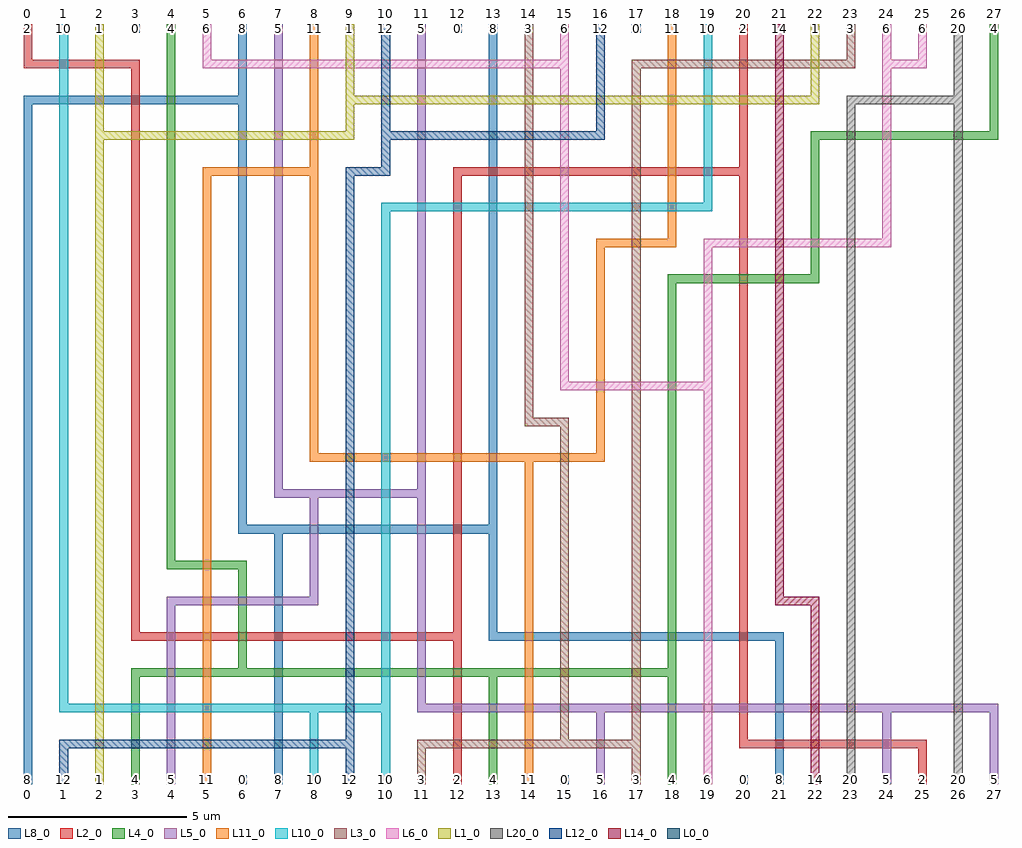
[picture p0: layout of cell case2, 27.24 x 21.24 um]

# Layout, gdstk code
import gdstk
lib = gdstk.Library(unit=1e-6, precision=1e-09)
def R(c, l, rs):  # rectangles x0, y0, x1, y1
    for r in rs: c.add(gdstk.rectangle(r[:2], r[2:], *l))
L0_0 = (0, 0)
L1_0 = (1, 0)
L2_0 = (2, 0)
L3_0 = (3, 0)
L4_0 = (4, 0)
L5_0 = (5, 0)
L6_0 = (6, 0)
L8_0 = (8, 0)
L10_0 = (10, 0)
L11_0 = (11, 0)
L12_0 = (12, 0)
L14_0 = (14, 0)
L20_0 = (20, 0)

case2 = lib.new_cell('case2')
R(case2, L0_0, [(5.88,-0.12,6.12,0.12), (14.88,-0.12,15.12,0.12), (19.88,-0.12,20.12,0.12), (2.88,20.88,3.12,21.12), (11.88,20.88,12.12,21.12), (16.88,20.88,17.12,21.12)])
R(case2, L1_0, [(1.88,-0.12,2.12,3.12), (1.88,-0.12,2.12,0.12), (1.88,2.88,2.12,18.12), (1.88,17.88,2.12,21.12), (1.88,17.88,9.12,18.12), (8.88,17.88,9.12,19.12), (8.88,18.88,9.12,21.12), (8.88,18.88,22.12,19.12), (21.88,18.88,22.12,21.12), (1.88,20.88,2.12,21.12), (8.88,20.88,9.12,21.12), (21.88,20.88,22.12,21.12)])
R(case2, L2_0, [(11.88,-0.12,12.12,4.12), (11.88,-0.12,12.12,0.12), (24.88,-0.12,25.12,1.12), (24.88,-0.12,25.12,0.12), (19.88,0.88,20.12,17.12), (19.88,0.88,25.12,1.12), (2.88,3.88,3.12,20.12), (2.88,3.88,12.12,4.12), (11.88,3.88,12.12,17.12), (11.88,16.88,20.12,17.12), (19.88,16.88,20.12,18.12), (19.88,17.88,20.12,21.12), (-0.12,19.88,0.12,21.12), (-0.12,19.88,3.12,20.12), (-0.12,20.88,0.12,21.12), (19.88,20.88,20.12,21.12)])
R(case2, L3_0, [(10.88,-0.12,11.12,1.12), (10.88,-0.12,11.12,0.12), (16.88,-0.12,17.12,1.12), (16.88,-0.12,17.12,0.12), (10.88,0.88,17.12,1.12), (14.88,0.88,15.12,10.12), (16.88,0.88,17.12,20.12), (13.88,9.88,14.12,15.12), (13.88,9.88,15.12,10.12), (13.88,14.88,14.12,21.12), (16.88,19.88,23.12,20.12), (22.88,19.88,23.12,21.12), (13.88,20.88,14.12,21.12), (22.88,20.88,23.12,21.12)])
R(case2, L4_0, [(2.88,-0.12,3.12,3.12), (2.88,-0.12,3.12,0.12), (12.88,-0.12,13.12,3.12), (12.88,-0.12,13.12,0.12), (17.88,-0.12,18.12,1.12), (17.88,-0.12,18.12,0.12), (17.88,0.88,18.12,3.12), (2.88,2.88,18.12,3.12), (5.88,2.88,6.12,6.12), (17.88,2.88,18.12,14.12), (3.88,5.88,4.12,20.12), (3.88,5.88,6.12,6.12), (17.88,13.88,22.12,14.12), (21.88,13.88,22.12,18.12), (21.88,17.88,27.12,18.12), (26.88,17.88,27.12,20.12), (3.88,19.88,4.12,21.12), (26.88,19.88,27.12,21.12), (3.88,20.88,4.12,21.12), (26.88,20.88,27.12,21.12)])
R(case2, L5_0, [(3.88,-0.12,4.12,5.12), (3.88,-0.12,4.12,0.12), (15.88,-0.12,16.12,2.12), (15.88,-0.12,16.12,0.12), (23.88,-0.12,24.12,2.12), (23.88,-0.12,24.12,0.12), (26.88,-0.12,27.12,1.12), (26.88,-0.12,27.12,0.12), (26.88,0.88,27.12,2.12), (10.88,1.88,11.12,8.12), (10.88,1.88,27.12,2.12), (3.88,4.88,8.12,5.12), (7.88,4.88,8.12,8.12), (6.88,7.88,7.12,19.12), (6.88,7.88,11.12,8.12), (10.88,7.88,11.12,17.12), (10.88,16.88,11.12,21.12), (6.88,18.88,7.12,21.12), (6.88,20.88,7.12,21.12), (10.88,20.88,11.12,21.12)])
R(case2, L6_0, [(18.88,-0.12,19.12,1.12), (18.88,-0.12,19.12,0.12), (18.88,0.88,19.12,11.12), (14.88,10.88,15.12,20.12), (14.88,10.88,19.12,11.12), (18.88,10.88,19.12,15.12), (18.88,14.88,24.12,15.12), (23.88,14.88,24.12,20.12), (4.88,19.88,5.12,21.12), (4.88,19.88,15.12,20.12), (14.88,19.88,15.12,21.12), (23.88,19.88,24.12,21.12), (23.88,19.88,25.12,20.12), (24.88,19.88,25.12,21.12), (4.88,20.88,5.12,21.12), (14.88,20.88,15.12,21.12), (23.88,20.88,24.12,21.12), (24.88,20.88,25.12,21.12)])
R(case2, L8_0, [(-0.12,-0.12,0.12,1.12), (-0.12,-0.12,0.12,0.12), (6.88,-0.12,7.12,6.12), (6.88,-0.12,7.12,0.12), (20.88,-0.12,21.12,3.12), (20.88,-0.12,21.12,0.12), (-0.12,0.88,0.12,19.12), (20.88,2.88,21.12,4.12), (12.88,3.88,13.12,7.12), (12.88,3.88,21.12,4.12), (6.88,5.88,7.12,7.12), (5.88,6.88,6.12,19.12), (5.88,6.88,13.12,7.12), (12.88,6.88,13.12,15.12), (12.88,14.88,13.12,21.12), (-0.12,18.88,6.12,19.12), (5.88,18.88,6.12,21.12), (5.88,20.88,6.12,21.12), (12.88,20.88,13.12,21.12)])
R(case2, L10_0, [(7.88,-0.12,8.12,2.12), (7.88,-0.12,8.12,0.12), (9.88,-0.12,10.12,1.12), (9.88,-0.12,10.12,0.12), (9.88,0.88,10.12,2.12), (0.88,1.88,1.12,18.12), (0.88,1.88,10.12,2.12), (9.88,1.88,10.12,16.12), (9.88,15.88,19.12,16.12), (18.88,15.88,19.12,18.12), (0.88,17.88,1.12,21.12), (18.88,17.88,19.12,21.12), (0.88,20.88,1.12,21.12), (18.88,20.88,19.12,21.12)])
R(case2, L11_0, [(4.88,-0.12,5.12,7.12), (4.88,-0.12,5.12,0.12), (13.88,-0.12,14.12,5.12), (13.88,-0.12,14.12,0.12), (13.88,4.88,14.12,9.12), (4.88,6.88,5.12,17.12), (7.88,8.88,8.12,17.12), (7.88,8.88,16.12,9.12), (15.88,8.88,16.12,15.12), (15.88,14.88,18.12,15.12), (17.88,14.88,18.12,18.12), (4.88,16.88,8.12,17.12), (7.88,16.88,8.12,19.12), (17.88,17.88,18.12,21.12), (7.88,18.88,8.12,21.12), (7.88,20.88,8.12,21.12), (17.88,20.88,18.12,21.12)])
R(case2, L12_0, [(0.88,-0.12,1.12,1.12), (0.88,-0.12,1.12,0.12), (8.88,-0.12,9.12,1.12), (8.88,-0.12,9.12,0.12), (0.88,0.88,9.12,1.12), (8.88,0.88,9.12,17.12), (8.88,16.88,10.12,17.12), (9.88,16.88,10.12,18.12), (9.88,17.88,10.12,21.12), (9.88,17.88,16.12,18.12), (15.88,17.88,16.12,20.12), (15.88,19.88,16.12,21.12), (9.88,20.88,10.12,21.12), (15.88,20.88,16.12,21.12)])
R(case2, L14_0, [(21.88,-0.12,22.12,3.12), (21.88,-0.12,22.12,0.12), (21.88,2.88,22.12,5.12), (20.88,4.88,21.12,18.12), (20.88,4.88,22.12,5.12), (20.88,17.88,21.12,21.12), (20.88,20.88,21.12,21.12)])
R(case2, L20_0, [(22.88,-0.12,23.12,3.12), (22.88,-0.12,23.12,0.12), (25.88,-0.12,26.12,1.12), (25.88,-0.12,26.12,0.12), (25.88,0.88,26.12,20.12), (22.88,2.88,23.12,19.12), (22.88,18.88,26.12,19.12), (25.88,19.88,26.12,21.12), (25.88,20.88,26.12,21.12)])
case2.add(gdstk.Label('0', (0,21.4), layer=215, texttype=1))
case2.add(gdstk.Label('2', (0,21), layer=215, texttype=1))
case2.add(gdstk.Label('1', (1,21.4), layer=215, texttype=1))
case2.add(gdstk.Label('10', (1,21), layer=215, texttype=1))
case2.add(gdstk.Label('2', (2,21.4), layer=215, texttype=1))
case2.add(gdstk.Label('1', (2,21), layer=215, texttype=1))
case2.add(gdstk.Label('3', (3,21.4), layer=215, texttype=1))
case2.add(gdstk.Label('0', (3,21), layer=215, texttype=1))
case2.add(gdstk.Label('4', (4,21.4), layer=215, texttype=1))
case2.add(gdstk.Label('4', (4,21), layer=215, texttype=1))
case2.add(gdstk.Label('5', (5,21.4), layer=215, texttype=1))
case2.add(gdstk.Label('6', (5,21), layer=215, texttype=1))
case2.add(gdstk.Label('6', (6,21.4), layer=215, texttype=1))
case2.add(gdstk.Label('8', (6,21), layer=215, texttype=1))
case2.add(gdstk.Label('7', (7,21.4), layer=215, texttype=1))
case2.add(gdstk.Label('5', (7,21), layer=215, texttype=1))
case2.add(gdstk.Label('8', (8,21.4), layer=215, texttype=1))
case2.add(gdstk.Label('11', (8,21), layer=215, texttype=1))
case2.add(gdstk.Label('9', (9,21.4), layer=215, texttype=1))
case2.add(gdstk.Label('1', (9,21), layer=215, texttype=1))
case2.add(gdstk.Label('10', (10,21.4), layer=215, texttype=1))
case2.add(gdstk.Label('12', (10,21), layer=215, texttype=1))
case2.add(gdstk.Label('11', (11,21.4), layer=215, texttype=1))
case2.add(gdstk.Label('5', (11,21), layer=215, texttype=1))
case2.add(gdstk.Label('12', (12,21.4), layer=215, texttype=1))
case2.add(gdstk.Label('0', (12,21), layer=215, texttype=1))
case2.add(gdstk.Label('13', (13,21.4), layer=215, texttype=1))
case2.add(gdstk.Label('8', (13,21), layer=215, texttype=1))
case2.add(gdstk.Label('14', (14,21.4), layer=215, texttype=1))
case2.add(gdstk.Label('3', (14,21), layer=215, texttype=1))
case2.add(gdstk.Label('15', (15,21.4), layer=215, texttype=1))
case2.add(gdstk.Label('6', (15,21), layer=215, texttype=1))
case2.add(gdstk.Label('16', (16,21.4), layer=215, texttype=1))
case2.add(gdstk.Label('12', (16,21), layer=215, texttype=1))
case2.add(gdstk.Label('17', (17,21.4), layer=215, texttype=1))
case2.add(gdstk.Label('0', (17,21), layer=215, texttype=1))
case2.add(gdstk.Label('18', (18,21.4), layer=215, texttype=1))
case2.add(gdstk.Label('11', (18,21), layer=215, texttype=1))
case2.add(gdstk.Label('19', (19,21.4), layer=215, texttype=1))
case2.add(gdstk.Label('10', (19,21), layer=215, texttype=1))
case2.add(gdstk.Label('20', (20,21.4), layer=215, texttype=1))
case2.add(gdstk.Label('2', (20,21), layer=215, texttype=1))
case2.add(gdstk.Label('21', (21,21.4), layer=215, texttype=1))
case2.add(gdstk.Label('14', (21,21), layer=215, texttype=1))
case2.add(gdstk.Label('22', (22,21.4), layer=215, texttype=1))
case2.add(gdstk.Label('1', (22,21), layer=215, texttype=1))
case2.add(gdstk.Label('23', (23,21.4), layer=215, texttype=1))
case2.add(gdstk.Label('3', (23,21), layer=215, texttype=1))
case2.add(gdstk.Label('24', (24,21.4), layer=215, texttype=1))
case2.add(gdstk.Label('6', (24,21), layer=215, texttype=1))
case2.add(gdstk.Label('25', (25,21.4), layer=215, texttype=1))
case2.add(gdstk.Label('6', (25,21), layer=215, texttype=1))
case2.add(gdstk.Label('26', (26,21.4), layer=215, texttype=1))
case2.add(gdstk.Label('20', (26,21), layer=215, texttype=1))
case2.add(gdstk.Label('27', (27,21.4), layer=215, texttype=1))
case2.add(gdstk.Label('4', (27,21), layer=215, texttype=1))
case2.add(gdstk.Label('0', (0,-0.4), layer=215, texttype=1))
case2.add(gdstk.Label('8', (0,0), layer=215, texttype=1))
case2.add(gdstk.Label('1', (1,-0.4), layer=215, texttype=1))
case2.add(gdstk.Label('12', (1,0), layer=215, texttype=1))
case2.add(gdstk.Label('2', (2,-0.4), layer=215, texttype=1))
case2.add(gdstk.Label('1', (2,0), layer=215, texttype=1))
case2.add(gdstk.Label('3', (3,-0.4), layer=215, texttype=1))
case2.add(gdstk.Label('4', (3,0), layer=215, texttype=1))
case2.add(gdstk.Label('4', (4,-0.4), layer=215, texttype=1))
case2.add(gdstk.Label('5', (4,0), layer=215, texttype=1))
case2.add(gdstk.Label('5', (5,-0.4), layer=215, texttype=1))
case2.add(gdstk.Label('11', (5,0), layer=215, texttype=1))
case2.add(gdstk.Label('6', (6,-0.4), layer=215, texttype=1))
case2.add(gdstk.Label('0', (6,0), layer=215, texttype=1))
case2.add(gdstk.Label('7', (7,-0.4), layer=215, texttype=1))
case2.add(gdstk.Label('8', (7,0), layer=215, texttype=1))
case2.add(gdstk.Label('8', (8,-0.4), layer=215, texttype=1))
case2.add(gdstk.Label('10', (8,0), layer=215, texttype=1))
case2.add(gdstk.Label('9', (9,-0.4), layer=215, texttype=1))
case2.add(gdstk.Label('12', (9,0), layer=215, texttype=1))
case2.add(gdstk.Label('10', (10,-0.4), layer=215, texttype=1))
case2.add(gdstk.Label('10', (10,0), layer=215, texttype=1))
case2.add(gdstk.Label('11', (11,-0.4), layer=215, texttype=1))
case2.add(gdstk.Label('3', (11,0), layer=215, texttype=1))
case2.add(gdstk.Label('12', (12,-0.4), layer=215, texttype=1))
case2.add(gdstk.Label('2', (12,0), layer=215, texttype=1))
case2.add(gdstk.Label('13', (13,-0.4), layer=215, texttype=1))
case2.add(gdstk.Label('4', (13,0), layer=215, texttype=1))
case2.add(gdstk.Label('14', (14,-0.4), layer=215, texttype=1))
case2.add(gdstk.Label('11', (14,0), layer=215, texttype=1))
case2.add(gdstk.Label('15', (15,-0.4), layer=215, texttype=1))
case2.add(gdstk.Label('0', (15,0), layer=215, texttype=1))
case2.add(gdstk.Label('16', (16,-0.4), layer=215, texttype=1))
case2.add(gdstk.Label('5', (16,0), layer=215, texttype=1))
case2.add(gdstk.Label('17', (17,-0.4), layer=215, texttype=1))
case2.add(gdstk.Label('3', (17,0), layer=215, texttype=1))
case2.add(gdstk.Label('18', (18,-0.4), layer=215, texttype=1))
case2.add(gdstk.Label('4', (18,0), layer=215, texttype=1))
case2.add(gdstk.Label('19', (19,-0.4), layer=215, texttype=1))
case2.add(gdstk.Label('6', (19,0), layer=215, texttype=1))
case2.add(gdstk.Label('20', (20,-0.4), layer=215, texttype=1))
case2.add(gdstk.Label('0', (20,0), layer=215, texttype=1))
case2.add(gdstk.Label('21', (21,-0.4), layer=215, texttype=1))
case2.add(gdstk.Label('8', (21,0), layer=215, texttype=1))
case2.add(gdstk.Label('22', (22,-0.4), layer=215, texttype=1))
case2.add(gdstk.Label('14', (22,0), layer=215, texttype=1))
case2.add(gdstk.Label('23', (23,-0.4), layer=215, texttype=1))
case2.add(gdstk.Label('20', (23,0), layer=215, texttype=1))
case2.add(gdstk.Label('24', (24,-0.4), layer=215, texttype=1))
case2.add(gdstk.Label('5', (24,0), layer=215, texttype=1))
case2.add(gdstk.Label('25', (25,-0.4), layer=215, texttype=1))
case2.add(gdstk.Label('2', (25,0), layer=215, texttype=1))
case2.add(gdstk.Label('26', (26,-0.4), layer=215, texttype=1))
case2.add(gdstk.Label('20', (26,0), layer=215, texttype=1))
case2.add(gdstk.Label('27', (27,-0.4), layer=215, texttype=1))
case2.add(gdstk.Label('5', (27,0), layer=215, texttype=1))

lib.write_gds('case2.gds')
